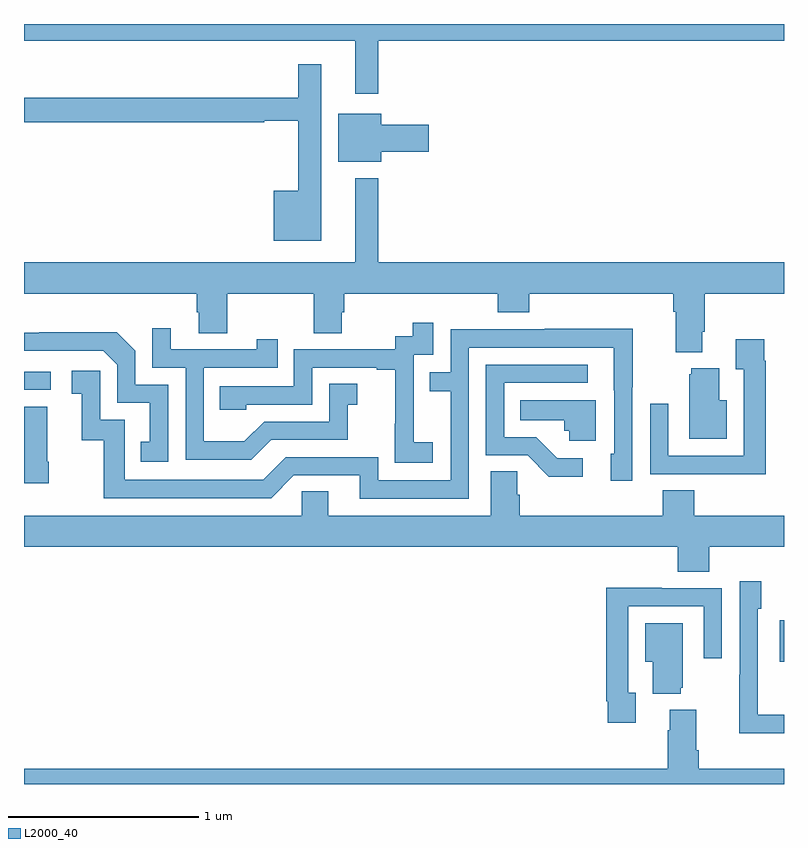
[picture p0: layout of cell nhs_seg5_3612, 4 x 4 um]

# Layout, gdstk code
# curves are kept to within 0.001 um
import gdstk
lib = gdstk.Library(unit=1e-6, precision=1e-09)
def R(c, l, rs):  # rectangles x0, y0, x1, y1
    for r in rs: c.add(gdstk.rectangle(r[:2], r[2:], *l))
def P(c, l, *ps):  # polygons
    for p in ps: c.add(gdstk.Polygon(p, *l))
L2000_40 = (2000, 40)

nhs_seg5_3612 = lib.new_cell('nhs_seg5_3612')
R(nhs_seg5_3612, L2000_40, [(326.978,901.442,327,901.661), (323,902.874,323.14,902.97)])
P(nhs_seg5_3612, L2000_40, [(324.865,904.712),(327,904.712),(327,904.799),(323,904.799),(323,904.712),(324.743,904.712),(324.743,904.431),(324.865,904.431)],
  [(324.565,904.588),(324.444,904.588),(324.444,904.411),(323,904.411),(323,904.282),(324.265,904.282),(324.265,904.29),(324.444,904.29),(324.444,903.922),(324.314,903.922),(324.314,903.659),(324.565,903.659)],
  [(324.88,904.127),(325.129,904.127),(325.129,904.269),(324.88,904.269),(324.88,904.327),(324.653,904.327),(324.653,904.073),(324.88,904.073)],
  [(326.569,903.178),(326.582,903.178),(326.582,903.38),(327,903.38),(327,903.544),(324.865,903.544),(324.865,903.988),(324.743,903.988),(324.743,903.544),(323,903.544),(323,903.38),(323.909,903.38),(323.909,903.282),(323.921,903.282),(323.921,903.172),(324.069,903.172),(324.069,903.38),(324.526,903.38),(324.526,903.172),(324.673,903.172),(324.673,903.282),(324.686,903.282),(324.686,903.38),(325.493,903.38),(325.493,903.281),(325.658,903.281),(325.658,903.38),(326.417,903.38),(326.417,903.284),(326.429,903.284),(326.429,903.071),(326.569,903.071)],
  [(325.15,902.599),(325.052,902.599),(325.052,902.828),(325.05,902.828),(325.05,903.057),(325.155,903.057),(325.155,903.226),(325.047,903.226),(325.047,903.156),(324.954,903.156),(324.954,903.087),(324.42,903.087),(324.42,902.892),(324.031,902.892),(324.031,902.769),(324.171,902.769),(324.171,902.796),(324.516,902.796),(324.516,902.991),(324.857,902.991),(324.857,902.979),(324.953,902.979),(324.953,902.695),(324.952,902.695),(324.952,902.489),(325.15,902.489)],
  [(324.301,902.61),(324.705,902.61),(324.705,902.795),(324.754,902.795),(324.754,902.905),(324.606,902.905),(324.606,902.706),(324.264,902.706),(324.16,902.602),(323.946,902.602),(323.946,902.991),(324.335,902.991),(324.335,903.139),(324.224,903.139),(324.224,903.087),(323.773,903.087),(323.773,903.199),(323.676,903.199),(323.676,902.991),(323.85,902.991),(323.85,902.505),(324.196,902.505)],
  [(325.341,903.096),(326.105,903.096),(326.106,902.538),(326.087,902.538),(326.087,902.394),(326.202,902.394),(326.202,902.887),(326.205,902.887),(326.205,903.194),(325.741,903.194),(325.741,903.192),(325.245,903.192),(325.245,902.967),(325.135,902.967),(325.135,902.866),(325.245,902.866),(325.245,902.397),(324.864,902.397),(324.864,902.52),(324.378,902.52),(324.258,902.4),(323.529,902.4),(323.529,902.715),(323.4,902.715),(323.4,902.974),(323.25,902.974),(323.25,902.853),(323.303,902.853),(323.303,902.607),(323.421,902.607),(323.421,902.304),(324.3,902.304),(324.42,902.424),(324.767,902.424),(324.767,902.301),(325.341,902.301)],
  [(323.76,902.901),(323.586,902.901),(323.586,903.078),(323.488,903.176),(323.08,903.176),(323.08,903.174),(323,903.174),(323,903.078),(323.418,903.078),(323.49,903.006),(323.49,902.805),(323.663,902.805),(323.663,902.601),(323.614,902.601),(323.614,902.496),(323.76,902.496)],
  [(326.903,903.026),(326.896,903.026),(326.896,903.139),(326.747,903.139),(326.747,902.983),(326.787,902.983),(326.787,902.526),(326.391,902.526),(326.391,902.8),(326.295,902.8),(326.295,902.43),(326.611,902.43),(326.611,902.429),(326.903,902.429)],
  [(325.942,902.514),(325.807,902.514),(325.696,902.625),(325.527,902.625),(325.527,902.91),(325.966,902.91),(325.966,903.006),(325.431,903.006),(325.431,902.529),(325.65,902.529),(325.763,902.417),(325.942,902.417)],
  [(326.698,902.818),(326.659,902.818),(326.659,902.986),(326.513,902.986),(326.513,902.955),(326.501,902.955),(326.501,902.615),(326.698,902.615)],
  [(326.008,902.818),(325.612,902.818),(325.612,902.714),(325.843,902.714),(325.843,902.658),(325.869,902.658),(325.869,902.606),(326.008,902.606)],
  [(323.13,902.494),(323.122,902.494),(323.122,902.785),(323,902.785),(323,902.382),(323.13,902.382)],
  [(326.606,902.048),(327,902.048),(327,902.212),(326.528,902.212),(326.528,902.345),(326.363,902.345),(326.363,902.212),(325.61,902.212),(325.61,902.321),(325.596,902.321),(325.596,902.444),(325.457,902.444),(325.457,902.212),(324.601,902.212),(324.601,902.339),(324.462,902.339),(324.462,902.212),(323,902.212),(323,902.048),(326.441,902.048),(326.441,901.915),(326.606,901.915)],
  [(327,901.164),(326.862,901.164),(326.862,901.722),(326.881,901.722),(326.881,901.867),(326.766,901.867),(326.766,901.373),(326.764,901.373),(326.764,901.067),(327,901.067)],
  [(326.221,901.278),(326.181,901.278),(326.181,901.734),(326.577,901.734),(326.577,901.461),(326.673,901.461),(326.673,901.83),(326.357,901.83),(326.357,901.832),(326.065,901.832),(326.065,901.234),(326.073,901.234),(326.073,901.122),(326.221,901.122)],
  [(326.456,901.305),(326.467,901.305),(326.467,901.645),(326.27,901.645),(326.27,901.442),(326.309,901.442),(326.309,901.274),(326.456,901.274)],
  [(327,900.88),(326.552,900.88),(326.552,900.976),(326.539,900.976),(326.539,901.189),(326.399,901.189),(326.399,901.082),(326.387,901.082),(326.387,900.88),(323,900.88),(323,900.799),(327,900.799)])

lib.write_gds('nhs_seg5_3612.gds')
